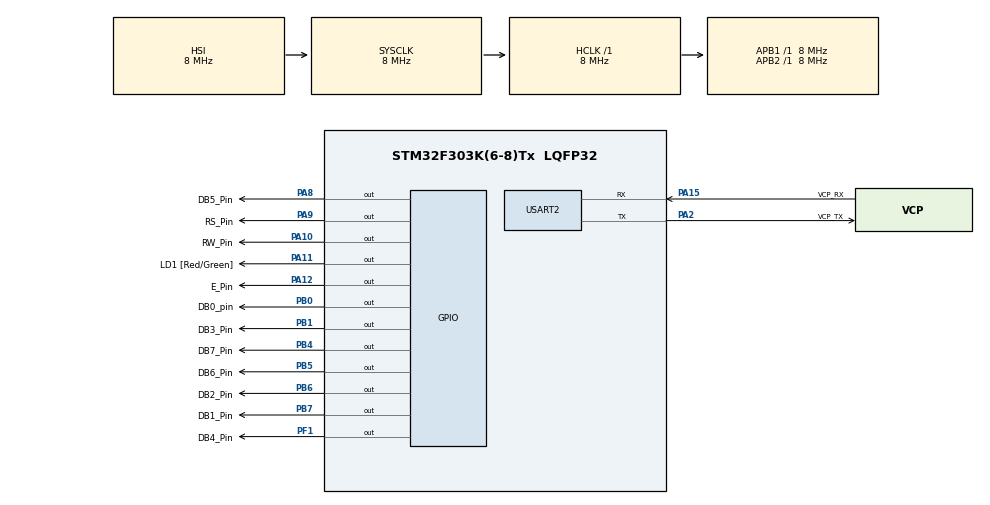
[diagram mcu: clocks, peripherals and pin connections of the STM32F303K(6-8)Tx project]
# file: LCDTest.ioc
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Mcu.Family=STM32F3
Mcu.Name=STM32F303K(6-8)Tx
Mcu.Package=LQFP32
NVIC.PriorityGroup=NVIC_PRIORITYGROUP_4
PA10.GPIO_Label=RW_Pin
PA10.Signal=GPIO_Output
PA11.GPIO_Label=LD1 [Red/Green]
PA11.Signal=GPIO_Output
PA12.GPIO_Label=E_Pin
PA12.Signal=GPIO_Output
PA13.GPIO_Label=SWDIO
PA13.Mode=Serial_Wire
PA13.Signal=SYS_JTMS-SWDIO
PA14.GPIO_Label=SWCLK
PA14.Mode=Serial_Wire
PA14.Signal=SYS_JTCK-SWCLK
PA15.GPIO_Label=VCP_RX
PA15.Mode=Asynchronous
PA15.Signal=USART2_RX
PA2.GPIO_Label=VCP_TX
PA2.Mode=Asynchronous
PA2.Signal=USART2_TX
PA8.GPIO_Label=DB5_Pin
PA8.Signal=GPIO_Output
PA9.GPIO_Label=RS_Pin
PA9.Signal=GPIO_Output
PB0.GPIO_Label=DB0_pin
PB0.Signal=GPIO_Output
PB1.GPIO_Label=DB3_Pin
PB1.Signal=GPIO_Output
PB4.GPIO_Label=DB7_Pin
PB4.Signal=GPIO_Output
PB5.GPIO_Label=DB6_Pin
PB5.Signal=GPIO_Output
PB6.GPIO_Label=DB2_Pin
PB6.Signal=GPIO_Output
PB7.GPIO_Label=DB1_Pin
PB7.Signal=GPIO_Output
PF0\ /\ OSC_IN.GPIO_Label=MCO
PF0\ /\ OSC_IN.Mode=HSE-External-Clock-Source
PF0\ /\ OSC_IN.Signal=RCC_OSC_IN
PF1\ /\ OSC_OUT.GPIO_Label=DB4_Pin
PF1\ /\ OSC_OUT.Signal=GPIO_Output
ProjectManager.HeapSize=0x200
ProjectManager.StackSize=0x400
ProjectManager.TargetToolchain=Makefile
RCC.AHBFreq_Value=8000000
RCC.APB1Freq_Value=8000000
RCC.APB2Freq_Value=8000000
RCC.CortexFreq_Value=8000000
RCC.HSE_VALUE=8000000
RCC.HSI_VALUE=8000000
RCC.SYSCLKFreq_VALUE=8000000
USART2.VirtualMode-Asynchronous=VM_ASYNC
board=NUCLEO-F303K8

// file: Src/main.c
/**
  ******************************************************************************
  * @file           : main.c
  * @brief          : Main program body
  ******************************************************************************
  ** This notice applies to any and all portions of this file
  * that are not between comment pairs USER CODE BEGIN and
  * USER CODE END. Other portions of this file, whether
  * inserted by the user or by software development tools
  * are owned by their respective copyright owners.
  *
  * COPYRIGHT(c) 2019 STMicroelectronics
  *
  * Redistribution and use in source and binary forms, with or without modification,
  * are permitted provided that the following conditions are met:
  *   1. Redistributions of source code must retain the above copyright notice,
  *      this list of conditions and the following disclaimer.
  *   2. Redistributions in binary form must reproduce the above copyright notice,
  *      this list of conditions and the following disclaimer in the documentation
  *      and/or other materials provided with the distribution.
  *   3. Neither the name of STMicroelectronics nor the names of its contributors
  *      may be used to endorse or promote products derived from this software
  *      without specific prior written permission.
  *
  * THIS SOFTWARE IS PROVIDED BY THE COPYRIGHT HOLDERS AND CONTRIBUTORS "AS IS"
  * AND ANY EXPRESS OR IMPLIED WARRANTIES, INCLUDING, BUT NOT LIMITED TO, THE
  * IMPLIED WARRANTIES OF MERCHANTABILITY AND FITNESS FOR A PARTICULAR PURPOSE ARE
  * DISCLAIMED. IN NO EVENT SHALL THE COPYRIGHT HOLDER OR CONTRIBUTORS BE LIABLE
  * FOR ANY DIRECT, INDIRECT, INCIDENTAL, SPECIAL, EXEMPLARY, OR CONSEQUENTIAL
  * DAMAGES (INCLUDING, BUT NOT LIMITED TO, PROCUREMENT OF SUBSTITUTE GOODS OR
  * SERVICES; LOSS OF USE, DATA, OR PROFITS; OR BUSINESS INTERRUPTION) HOWEVER
  * CAUSED AND ON ANY THEORY OF LIABILITY, WHETHER IN CONTRACT, STRICT LIABILITY,
  * OR TORT (INCLUDING NEGLIGENCE OR OTHERWISE) ARISING IN ANY WAY OUT OF THE USE
  * OF THIS SOFTWARE, EVEN IF ADVISED OF THE POSSIBILITY OF SUCH DAMAGE.
  *
  ******************************************************************************
  */
#include "main.h"
#include "stm32f3xx_hal.h"
#include "usart.h"
#include "gpio.h"
#include <string.h>

/* USER CODE BEGIN PV */
/* Private variables ---------------------------------------------------------*/

/* USER CODE END PV */

void SystemClock_Config(void);

/* USER CODE BEGIN PFP */
/* Private function prototypes -----------------------------------------------*/
static void writeCommand(uint8_t data);
static void writeData(uint8_t data);
static void Initialize();
static void ClearDisply();
static void ReturnHome();
static void writeCharToPos(uint8_t address, char data);
static void WriteString(char* string, int line);

/* USER CODE END PFP */

int main(void)
{

  /* MCU Configuration----------------------------------------------------------*/

  /* Reset of all peripherals, Initializes the Flash interface and the Systick. */
  HAL_Init();

  /* Configure the system clock */
  SystemClock_Config();

  /* Initialize all configured peripherals */
  MX_GPIO_Init();
  MX_USART2_UART_Init();
  /* USER CODE BEGIN 2 */

  Initialize();

  WriteString("abcde", 1);
  WriteString("fghij", 2);

  /* USER CODE END 2 */

  /* Infinite loop */
  while (1)
  {

  }

}

void SystemClock_Config(void)
{

  RCC_OscInitTypeDef RCC_OscInitStruct;
  RCC_ClkInitTypeDef RCC_ClkInitStruct;

    /**Initializes the CPU, AHB and APB busses clocks
    */
  RCC_OscInitStruct.OscillatorType = RCC_OSCILLATORTYPE_HSI;
  RCC_OscInitStruct.HSIState = RCC_HSI_ON;
  RCC_OscInitStruct.HSICalibrationValue = 16;
  RCC_OscInitStruct.PLL.PLLState = RCC_PLL_NONE;
  if (HAL_RCC_OscConfig(&RCC_OscInitStruct) != HAL_OK)
  {
    _Error_Handler(__FILE__, __LINE__);
  }

    /**Initializes the CPU, AHB and APB busses clocks
    */
  RCC_ClkInitStruct.ClockType = RCC_CLOCKTYPE_HCLK|RCC_CLOCKTYPE_SYSCLK
                              |RCC_CLOCKTYPE_PCLK1|RCC_CLOCKTYPE_PCLK2;
  RCC_ClkInitStruct.SYSCLKSource = RCC_SYSCLKSOURCE_HSI;
  RCC_ClkInitStruct.AHBCLKDivider = RCC_SYSCLK_DIV1;
  RCC_ClkInitStruct.APB1CLKDivider = RCC_HCLK_DIV1;
  RCC_ClkInitStruct.APB2CLKDivider = RCC_HCLK_DIV1;

  if (HAL_RCC_ClockConfig(&RCC_ClkInitStruct, FLASH_LATENCY_0) != HAL_OK)
  {
    _Error_Handler(__FILE__, __LINE__);
  }

    /**Configure the Systick interrupt time
    */
  HAL_SYSTICK_Config(HAL_RCC_GetHCLKFreq()/1000);

    /**Configure the Systick
    */
  HAL_SYSTICK_CLKSourceConfig(SYSTICK_CLKSOURCE_HCLK);

  /* SysTick_IRQn interrupt configuration */
  HAL_NVIC_SetPriority(SysTick_IRQn, 0, 0);
}

/* USER CODE BEGIN 4 */
void writeCommand(uint8_t data)
{
  //RSPinをコントロール側に
  HAL_GPIO_WritePin(RS_Pin_GPIO_Port, RS_Pin_Pin, GPIO_PIN_RESET);

  //RWPinを書き込みにする
  HAL_GPIO_WritePin(RW_Pin_GPIO_Port, RW_Pin_Pin, GPIO_PIN_RESET);

  //�?ータのセ�?�?
  HAL_GPIO_WritePin(DB0_pin_GPIO_Port, DB0_pin_Pin, (GPIO_PinState)(data & 0x01));
  HAL_GPIO_WritePin(DB1_Pin_GPIO_Port, DB1_Pin_Pin, (GPIO_PinState)((data >> 1) & 0x01));
  HAL_GPIO_WritePin(DB2_Pin_GPIO_Port, DB2_Pin_Pin, (GPIO_PinState)((data >> 2) & 0x01));
  HAL_GPIO_WritePin(DB3_Pin_GPIO_Port, DB3_Pin_Pin, (GPIO_PinState)((data >> 3) & 0x01));
  HAL_GPIO_WritePin(DB4_Pin_GPIO_Port, DB4_Pin_Pin, (GPIO_PinState)((data >> 4) & 0x01));
  HAL_GPIO_WritePin(DB5_Pin_GPIO_Port, DB5_Pin_Pin, (GPIO_PinState)((data >> 5) & 0x01));
  HAL_GPIO_WritePin(DB6_Pin_GPIO_Port, DB6_Pin_Pin, (GPIO_PinState)((data >> 6) & 0x01));
  HAL_GPIO_WritePin(DB7_Pin_GPIO_Port, DB7_Pin_Pin, (GPIO_PinState)((data >> 7) & 0x01));

  //Epinにパルス送信
  HAL_GPIO_WritePin(E_Pin_GPIO_Port, E_Pin_Pin, GPIO_PIN_SET);
  HAL_Delay(1);
  HAL_GPIO_WritePin(E_Pin_GPIO_Port, E_Pin_Pin, GPIO_PIN_RESET);
}
void writeData(uint8_t data)
{
  //RSPinをデータ側に
  HAL_GPIO_WritePin(RS_Pin_GPIO_Port, RS_Pin_Pin, GPIO_PIN_SET);

  //RWPinを書き込みにする
  HAL_GPIO_WritePin(RW_Pin_GPIO_Port, RW_Pin_Pin, GPIO_PIN_RESET);

  //�?ータのセ�?�?
  HAL_GPIO_WritePin(DB0_pin_GPIO_Port, DB0_pin_Pin, (GPIO_PinState)(data & 0x01));
  HAL_GPIO_WritePin(DB1_Pin_GPIO_Port, DB1_Pin_Pin, (GPIO_PinState)((data >> 1) & 0x01));
  HAL_GPIO_WritePin(DB2_Pin_GPIO_Port, DB2_Pin_Pin, (GPIO_PinState)((data >> 2) & 0x01));
  HAL_GPIO_WritePin(DB3_Pin_GPIO_Port, DB3_Pin_Pin, (GPIO_PinState)((data >> 3) & 0x01));
  HAL_GPIO_WritePin(DB4_Pin_GPIO_Port, DB4_Pin_Pin, (GPIO_PinState)((data >> 4) & 0x01));
  HAL_GPIO_WritePin(DB5_Pin_GPIO_Port, DB5_Pin_Pin, (GPIO_PinState)((data >> 5) & 0x01));
  HAL_GPIO_WritePin(DB6_Pin_GPIO_Port, DB6_Pin_Pin, (GPIO_PinState)((data >> 6) & 0x01));
  HAL_GPIO_WritePin(DB7_Pin_GPIO_Port, DB7_Pin_Pin, (GPIO_PinState)((data >> 7) & 0x01));

  //Epinにパルス送信
  HAL_GPIO_WritePin(E_Pin_GPIO_Port, E_Pin_Pin, GPIO_PIN_SET);
  HAL_Delay(1);
  HAL_GPIO_WritePin(E_Pin_GPIO_Port, E_Pin_Pin, GPIO_PIN_RESET);
}
void Initialize()
{
//40msec以上�?つ
  HAL_Delay(40);

  //FunctionSet 1行目 00110000
  writeCommand(0x30);
  //37us以上�?つ
  HAL_Delay(1);

  //FunctionSet 2行目 00111000
  writeCommand(0x38);
  //37us以上�?つ
  HAL_Delay(1);

  //Display ON/OFF 00001100
  writeCommand(0x0C);
  //37us以上�?つ
  HAL_Delay(1);

  //Display clear 00000001
  writeCommand(0x01);
  //1.52ms以上�?つ
  HAL_Delay(2);

  //Entry mode set 00000110
  writeCommand(0x06);
  //�?たなくて�?�?のかな?
  HAL_Delay(1);
}
void ClearDisply()
{
  //Display clear 00000001
  writeCommand(0x01);
  //1.52ms以上�?つ
  HAL_Delay(2);
}
void ReturnHome()
{
  writeCommand(0x02);
  HAL_Delay(2);
}
void writeCharToPos(uint8_t address, char data)
{
  writeCommand(0x80 + address);

  writeData((uint8_t)data);
}
void WriteString(char* string, int line)
{
  int cnt = 0;
  for(cnt = 0; cnt < strlen(string); cnt++){
    writeCharToPos(cnt + (line - 1) * 0x40, string[cnt]);
  }
}

/* USER CODE END 4 */

void _Error_Handler(char *file, int line)
{
  while(1)
  {
  }
}

/************************ (C) COPYRIGHT STMicroelectronics *****END OF FILE****/
